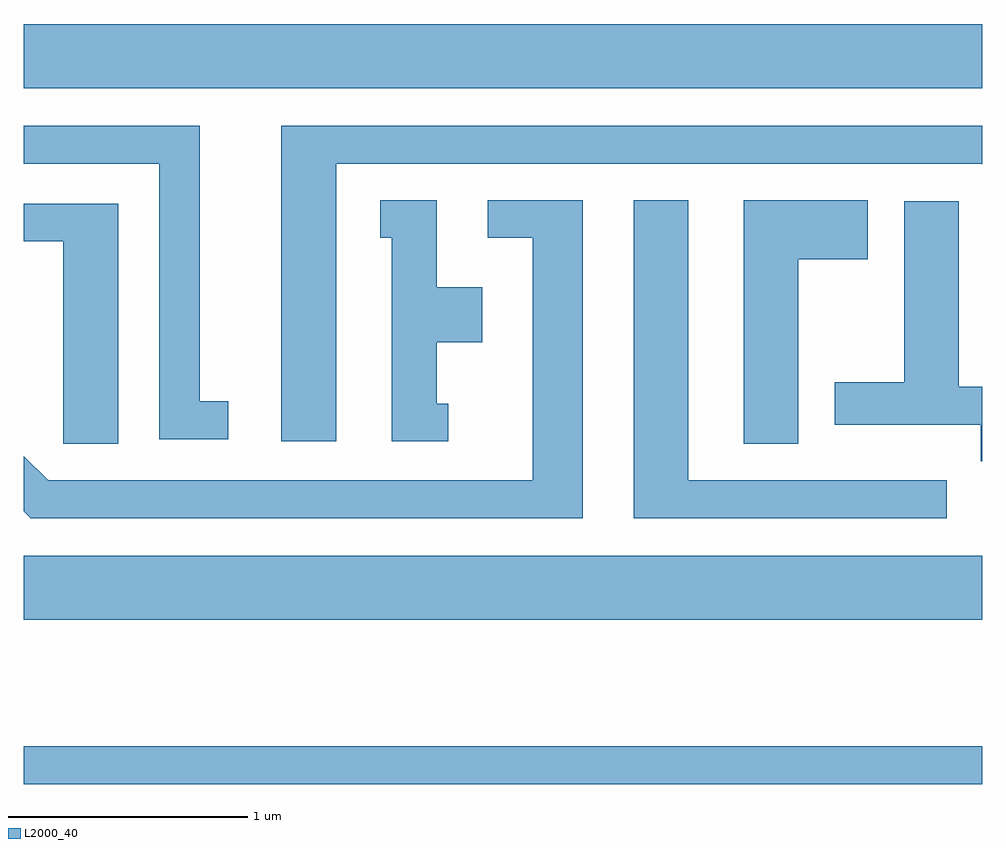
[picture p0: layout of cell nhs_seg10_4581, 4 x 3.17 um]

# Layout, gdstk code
import gdstk
lib = gdstk.Library(unit=1e-6, precision=1e-09)
def R(c, l, rs):  # rectangles x0, y0, x1, y1
    for r in rs: c.add(gdstk.rectangle(r[:2], r[2:], *l))
def P(c, l, *ps):  # polygons
    for p in ps: c.add(gdstk.Polygon(p, *l))
L2000_40 = (2000, 40)

nhs_seg10_4581 = lib.new_cell('nhs_seg10_4581')
R(nhs_seg10_4581, L2000_40, [(319.611,2168.731,323.611,2168.889), (319.611,2169.416,323.611,2169.684), (319.611,2171.636,323.611,2171.904)])
P(nhs_seg10_4581, L2000_40, [(320.463,2170.329),(320.344,2170.329),(320.344,2171.479),(319.611,2171.479),(319.611,2171.321),(320.176,2171.321),(320.176,2170.171),(320.463,2170.171)],
  [(320.914,2171.321),(323.609,2171.321),(323.611,2171.319),(323.611,2171.479),(320.686,2171.479),(320.686,2170.161),(320.914,2170.161)],
  [(321.944,2171.169),(321.548,2171.169),(321.548,2171.011),(321.736,2171.011),(321.736,2169.999),(319.712,2169.999),(319.611,2170.1),(319.611,2169.869),(319.639,2169.841),(321.944,2169.841)],
  [(321.383,2170.319),(321.334,2170.319),(321.334,2170.576),(321.524,2170.576),(321.524,2170.804),(321.334,2170.804),(321.334,2171.169),(321.098,2171.169),(321.098,2171.011),(321.146,2171.011),(321.146,2170.161),(321.383,2170.161)],
  [(323.463,2169.999),(322.384,2169.999),(322.384,2171.169),(322.156,2171.169),(322.156,2169.841),(323.463,2169.841)],
  [(322.844,2170.921),(323.134,2170.921),(323.134,2171.169),(322.616,2171.169),(322.616,2170.151),(322.844,2170.151)],
  [(323.611,2170.389),(323.514,2170.389),(323.514,2171.164),(323.286,2171.164),(323.286,2170.409),(322.996,2170.409),(322.996,2170.231),(323.606,2170.231),(323.606,2170.078),(323.611,2170.078)],
  [(320.004,2171.154),(319.611,2171.154),(319.611,2170.996),(319.776,2170.996),(319.776,2170.151),(320.004,2170.151)])

lib.write_gds('nhs_seg10_4581.gds')
